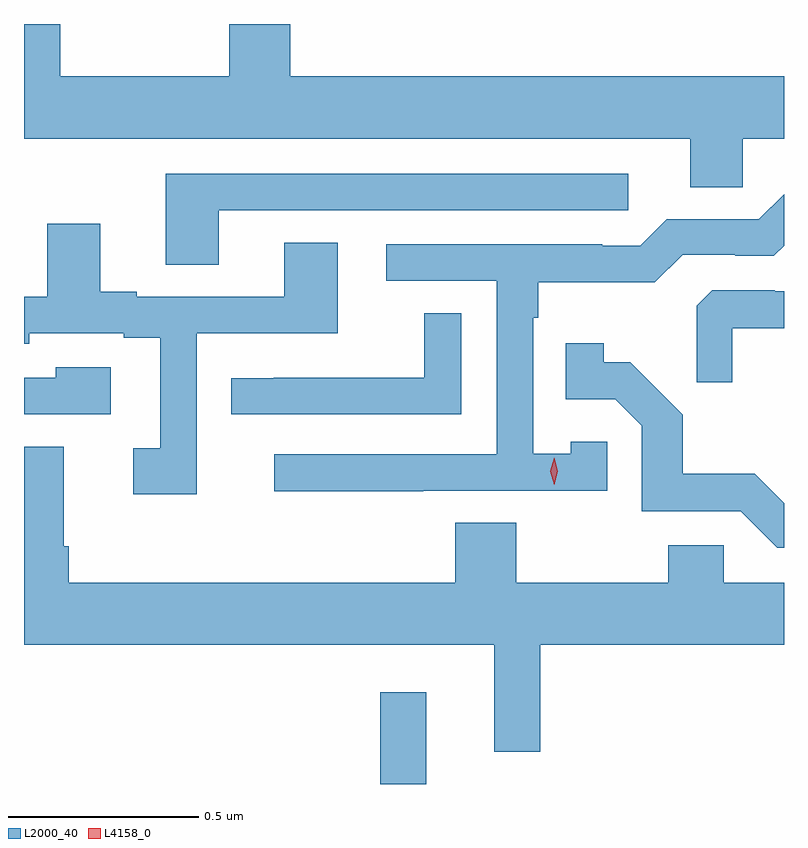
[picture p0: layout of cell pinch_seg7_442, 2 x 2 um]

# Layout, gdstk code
import gdstk
lib = gdstk.Library(unit=1e-6, precision=1e-09)
def R(c, l, rs):  # rectangles x0, y0, x1, y1
    for r in rs: c.add(gdstk.rectangle(r[:2], r[2:], *l))
def P(c, l, *ps):  # polygons
    for p in ps: c.add(gdstk.Polygon(p, *l))
L2000_40 = (2000, 40)
L4158_0 = (4158, 0)

pinch_seg7_442 = lib.new_cell('pinch_seg7_442')
R(pinch_seg7_442, L2000_40, [(334.656,1066.85,334.777,1067.092)])
P(pinch_seg7_442, L2000_40, [(335.61,1068.548),(335.718,1068.548),(335.718,1068.712),(334.418,1068.712),(334.418,1068.85),(334.258,1068.85),(334.258,1068.712),(333.813,1068.712),(333.813,1068.85),(333.718,1068.85),(333.718,1068.548),(335.471,1068.548),(335.471,1068.421),(335.61,1068.421)],
  [(334.231,1068.36),(335.308,1068.36),(335.308,1068.456),(334.091,1068.456),(334.091,1068.217),(334.231,1068.217)],
  [(334.769,1067.622),(335.253,1067.622),(335.253,1067.751),(335.157,1067.751),(335.157,1067.719),(335.058,1067.719),(335.058,1068.077),(335.071,1068.077),(335.071,1068.17),(335.378,1068.17),(335.451,1068.243),(335.59,1068.243),(335.59,1068.24),(335.691,1068.24),(335.718,1068.267),(335.718,1068.402),(335.652,1068.336),(335.409,1068.336),(335.34,1068.267),(335.24,1068.267),(335.24,1068.27),(334.671,1068.27),(334.671,1068.174),(334.962,1068.174),(334.962,1067.718),(334.377,1067.718),(334.377,1067.62),(334.769,1067.62)],
  [(334.173,1068.036),(334.543,1068.036),(334.543,1068.275),(334.403,1068.275),(334.403,1068.132),(334.015,1068.132),(334.015,1068.145),(333.919,1068.145),(333.919,1068.325),(333.779,1068.325),(333.779,1068.132),(333.718,1068.132),(333.718,1068.009),(333.732,1068.009),(333.732,1068.036),(333.98,1068.036),(333.98,1068.024),(334.076,1068.024),(334.076,1067.733),(334.005,1067.733),(334.005,1067.613),(334.173,1067.613)],
  [(335.582,1068.05),(335.718,1068.05),(335.718,1068.147),(335.694,1068.147),(335.694,1068.15),(335.529,1068.15),(335.488,1068.109),(335.488,1067.907),(335.582,1067.907)],
  [(334.869,1068.089),(334.771,1068.089),(334.771,1067.919),(334.375,1067.919),(334.375,1067.918),(334.263,1067.918),(334.263,1067.823),(334.869,1067.823)],
  [(335.718,1067.589),(335.641,1067.667),(335.452,1067.667),(335.452,1067.822),(335.314,1067.96),(335.244,1067.96),(335.244,1068.01),(335.143,1068.01),(335.143,1067.862),(335.274,1067.862),(335.343,1067.793),(335.343,1067.568),(335.604,1067.568),(335.7,1067.472),(335.718,1067.472)],
  [(333.946,1067.947),(333.801,1067.947),(333.801,1067.919),(333.718,1067.919),(333.718,1067.823),(333.946,1067.823)],
  [(335.077,1067.216),(335.718,1067.216),(335.718,1067.38),(335.559,1067.38),(335.559,1067.478),(335.413,1067.478),(335.413,1067.38),(335.013,1067.38),(335.013,1067.537),(334.853,1067.537),(334.853,1067.38),(333.836,1067.38),(333.836,1067.476),(333.823,1067.476),(333.823,1067.737),(333.718,1067.737),(333.718,1067.216),(334.955,1067.216),(334.955,1066.935),(335.077,1066.935)])
P(pinch_seg7_442, L4158_0, [(335.113,1067.637),(335.113,1067.637),(335.103,1067.673),(335.113,1067.709),(335.113,1067.709),(335.113,1067.709),(335.123,1067.673),(335.113,1067.637)])

lib.write_gds('pinch_seg7_442.gds')
